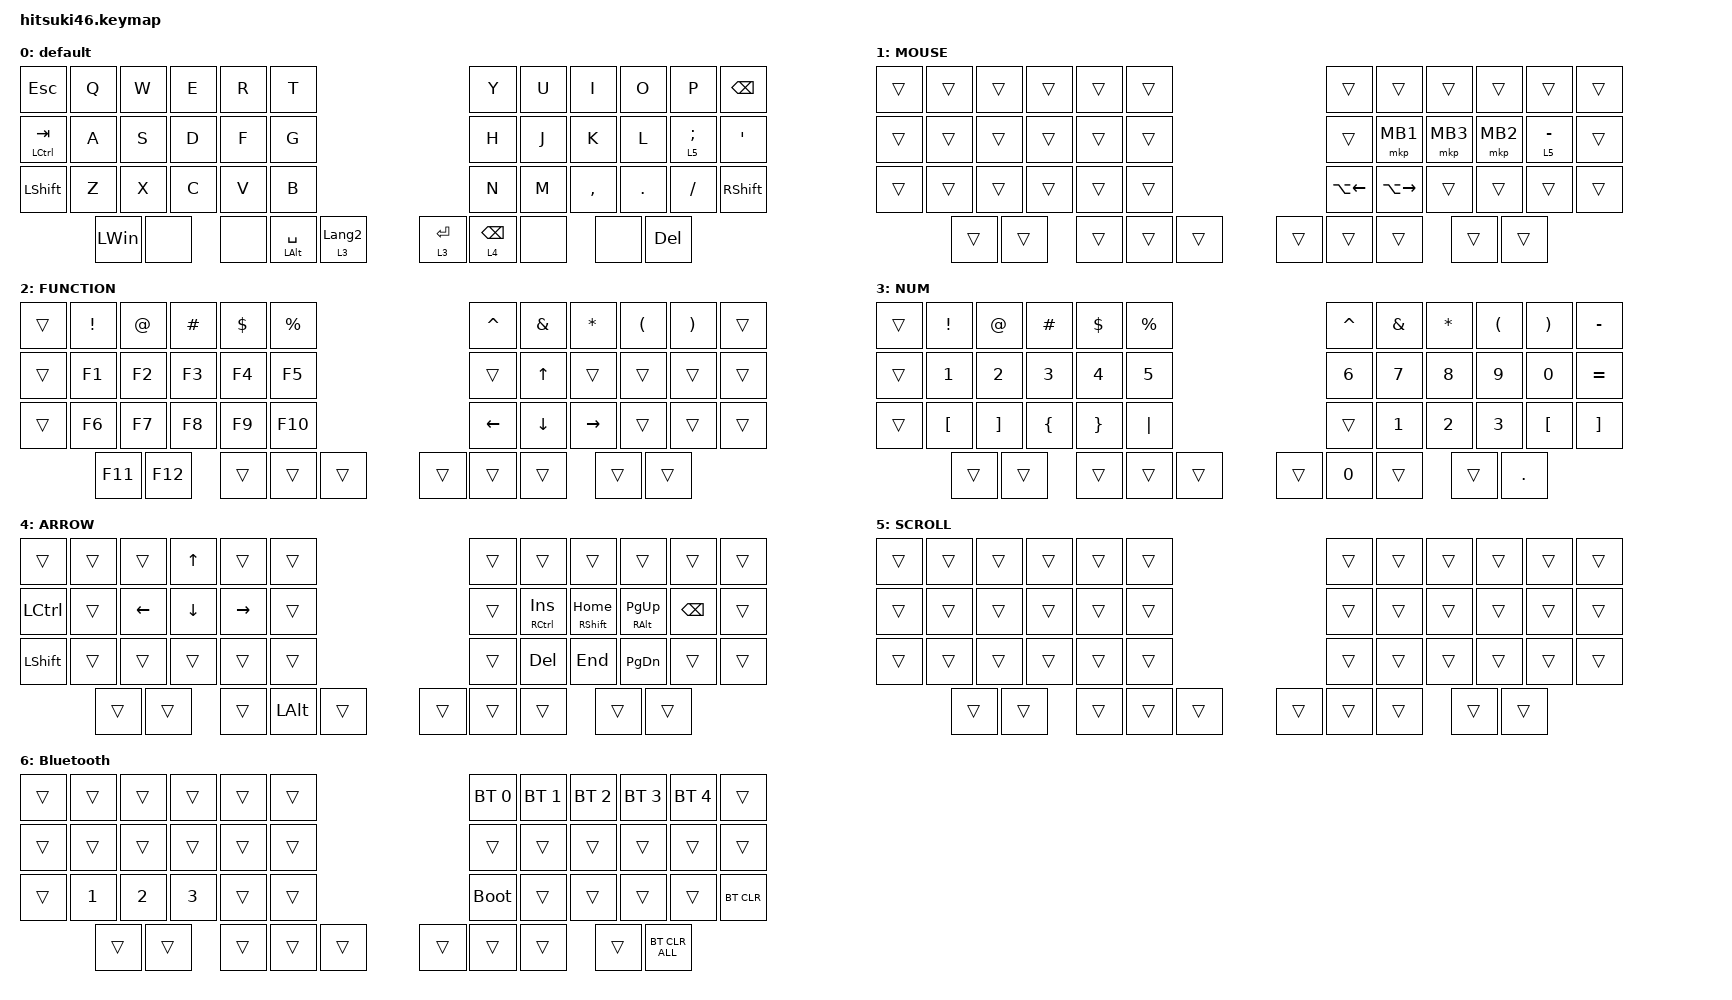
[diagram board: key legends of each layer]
#include <behaviors.dtsi>
#include <dt-bindings/zmk/bt.h>
#include <dt-bindings/zmk/keys.h>
#include <dt-bindings/zmk/pointing.h>

&mt {
    flavor = "balanced";
    quick-tap-ms = <0>;
};

// &trackball {
//     // Note: automouse-layer and scroll-layers are no longer supported in badjeff/zmk-pmw3610-driver
//     // These features should now be configured using layer-based zmk,input-listener in keymap
//     // automouse-layer = <1>;
//     // scroll-layers = <5>;
// };

/ {
    combos {
        compatible = "zmk,combos";

        tab {
            bindings = <&kp TAB>;
            key-positions = <13 14>;
        };

        shift_tab {
            bindings = <&kp LS(TAB)>;
            key-positions = <12 13>;
        };

        muhennkann {
            bindings = <&to_layer_0 INT_MUHENKAN>;
            key-positions = <11 10>;
        };

        double_quotation {
            bindings = <&kp DOUBLE_QUOTES>;
            key-positions = <20 21>;
        };

        eq {
            bindings = <&kp EQUAL>;
            key-positions = <24 25>;
        };

        kana {
            bindings = <&kp LANG1>;
            key-positions = <19 20>;
        };

        en {
            bindings = <&kp LANGUAGE_2>;
            key-positions = <15 16>;
        };

        esc {
            bindings = <&kp ESCAPE>;
            key-positions = <1 2>;
        };
    };

    macros {
        to_layer_0: to_layer_0 {
            compatible = "zmk,behavior-macro-one-param";
            #binding-cells = <1>;
            bindings = <&to 0 &macro_param_1to1 &kp MACRO_PLACEHOLDER>;
            label = "TO_LAYER_0";
        };
    };

    behaviors {
        lt_to_layer_0: lt_to_layer_0 {
            compatible = "zmk,behavior-hold-tap";
            label = "LAYER_TAP_TO_0";
            bindings = <&mo>, <&to_layer_0>;

            #binding-cells = <2>;
            tapping-term-ms = <200>;
        };
    };

    keymap {
        compatible = "zmk,keymap";

        default {
            bindings = <
&kp ESCAPE      &kp Q         &kp W  &kp E  &kp R               &kp T             &kp Y        &kp U            &kp I      &kp O       &kp P       &kp BACKSPACE
&mt LCTRL TAB   &kp A         &kp S  &kp D  &kp F               &kp G             &kp H        &kp J            &kp K      &kp L       &lt 5 SEMI  &kp SQT
&kp LEFT_SHIFT  &kp Z         &kp X  &kp C  &kp V               &kp B             &kp N        &kp M            &kp COMMA  &kp PERIOD  &kp SLASH   &kp RSHFT
                &kp LEFT_WIN  &none  &none  &mt LEFT_ALT SPACE  &lt 3 LANGUAGE_2  &lt 3 ENTER  &lt 4 BACKSPACE  &none      &none       &kp DELETE
            >;
        };

        MOUSE {
            bindings = <
&trans  &trans  &trans  &trans  &trans  &trans  &trans              &trans               &trans    &trans    &trans       &trans
&trans  &trans  &trans  &trans  &trans  &trans  &trans              &mkp MB1             &mkp MB3  &mkp MB2  &lt 5 MINUS  &trans
&trans  &trans  &trans  &trans  &trans  &trans  &kp LA(LEFT_ARROW)  &kp LA(RIGHT_ARROW)  &trans    &trans    &trans       &trans
        &trans  &trans  &trans  &trans  &trans  &trans              &trans               &trans    &trans    &trans
            >;
        };

        FUNCTION {
            bindings = <
&trans  &kp EXCLAMATION  &kp AT_SIGN  &kp HASH  &kp DOLLAR  &kp PERCENT  &kp CARET       &kp AMPERSAND   &kp ASTERISK     &kp LEFT_PARENTHESIS  &kp RIGHT_PARENTHESIS  &trans
&trans  &kp F1           &kp F2       &kp F3    &kp F4      &kp F5       &trans          &kp UP          &trans           &trans                &trans                 &trans
&trans  &kp F6           &kp F7       &kp F8    &kp F9      &kp F10      &kp LEFT_ARROW  &kp DOWN_ARROW  &kp RIGHT_ARROW  &trans                &trans                 &trans
        &kp F11          &kp F12      &trans    &trans      &trans       &trans          &trans          &trans           &trans                &trans
            >;
        };

        NUM {
            bindings = <
&trans  &kp EXCLAMATION   &kp AT_SIGN        &kp HASH        &kp DOLLAR       &kp PERCENT  &kp CARET     &kp AMPERSAND  &kp ASTERISK  &kp LEFT_PARENTHESIS  &kp RIGHT_PARENTHESIS  &kp MINUS
&trans  &kp NUMBER_1      &kp NUMBER_2       &kp NUMBER_3    &kp NUMBER_4     &kp N5       &kp NUMBER_6  &kp NUMBER_7   &kp NUMBER_8  &kp NUMBER_9          &kp NUMBER_0           &kp EQUAL
&trans  &kp LEFT_BRACKET  &kp RIGHT_BRACKET  &kp LEFT_BRACE  &kp RIGHT_BRACE  &kp PIPE     &trans        &kp NUMBER_1   &kp NUMBER_2  &kp NUMBER_3          &kp LEFT_BRACKET       &kp RIGHT_BRACKET
        &trans            &trans             &trans          &trans           &trans       &trans        &kp NUMBER_0   &trans        &trans                &kp PERIOD
            >;
        };

        ARROW {
            bindings = <
&trans          &trans  &trans    &kp UP    &trans        &trans  &trans  &trans            &trans                &trans                 &trans         &trans
&kp LCTRL       &trans  &kp LEFT  &kp DOWN  &kp RIGHT     &trans  &trans  &mt RCTRL INSERT  &mt RIGHT_SHIFT HOME  &mt RIGHT_ALT PAGE_UP  &kp BACKSPACE  &trans
&kp LEFT_SHIFT  &trans  &trans    &trans    &trans        &trans  &trans  &kp DELETE        &kp END               &kp PAGE_DOWN          &trans         &trans
                &trans  &trans    &trans    &kp LEFT_ALT  &trans  &trans  &trans            &trans                &trans                 &trans
            >;
        };

        SCROLL {
            bindings = <
&trans  &trans  &trans  &trans  &trans  &trans  &trans  &trans  &trans  &trans  &trans  &trans
&trans  &trans  &trans  &trans  &trans  &trans  &trans  &trans  &trans  &trans  &trans  &trans
&trans  &trans  &trans  &trans  &trans  &trans  &trans  &trans  &trans  &trans  &trans  &trans
        &trans  &trans  &trans  &trans  &trans  &trans  &trans  &trans  &trans  &trans
            >;
        };

        Bluetooth {
            bindings = <
&trans  &trans        &trans        &trans        &trans  &trans  &bt BT_SEL 0  &bt BT_SEL 1  &bt BT_SEL 2  &bt BT_SEL 3  &bt BT_SEL 4    &trans
&trans  &trans        &trans        &trans        &trans  &trans  &trans        &trans        &trans        &trans        &trans          &trans
&trans  &kp NUMBER_1  &kp NUMBER_2  &kp NUMBER_3  &trans  &trans  &bootloader   &trans        &trans        &trans        &trans          &bt BT_CLR
        &trans        &trans        &trans        &trans  &trans  &trans        &trans        &trans        &trans        &bt BT_CLR_ALL
            >;
        };
    };
};
